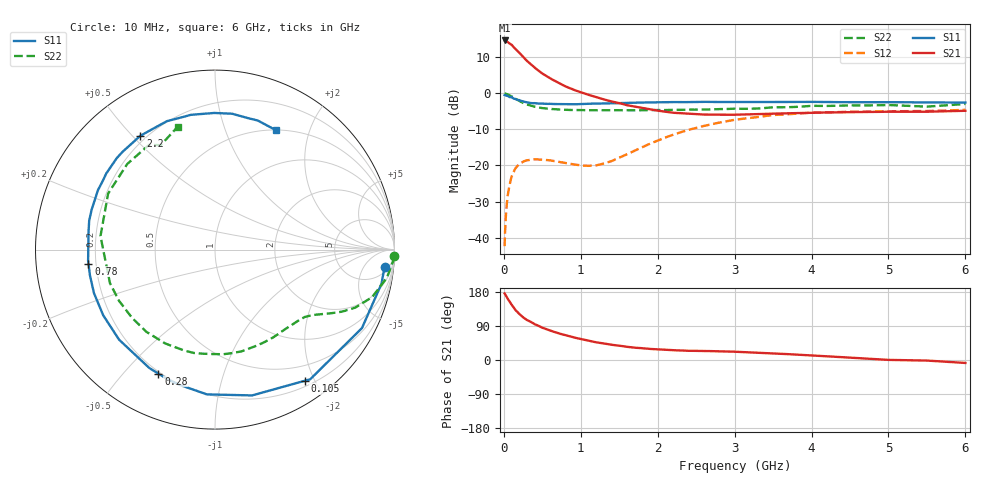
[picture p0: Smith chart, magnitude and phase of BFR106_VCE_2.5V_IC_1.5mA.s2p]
! Infineon Technologies  Discrete & RF Semiconductors
! BFR106
! VCE =  2.5 V,  IC =  1.5 mA
! Common Emitter S-Parameters:  Nov 2015
# GHz  S  MA  R  50
!  f  S11  S21  S12  S22
! GHz  MAG  ANG  MAG  ANG  MAG  ANG  MAG  ANG
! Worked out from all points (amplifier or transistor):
!   210 points, 10 MHz to 6 GHz, reference 50 ohm
!   highest |S21| = 14.7 dB at 10 MHz (marker M1)
!   |S21| within 3 dB of that: start of sweep to 181.1 MHz
!   unconditionally stable (mu >= 1): 804.8 MHz to 2.172 GHz; 2.659 GHz to end of sweep
!   at 185 MHz: K = 0.22, MSG = 15.8 dB, |S12| = -19.9 dB
!   at 1.52 GHz: K = 1.28, MAG = 4.3 dB, |S12| = -17.7 dB
!   at 6 GHz: K = 1.02, MAG = -1.0 dB, |S12| = -4.6 dB
!   S11 on the Smith chart (normalised r, x): 10 MHz: 8, -16; 105 MHz: 0.28, -1.86; 280 MHz: 0.19, -0.63; 780 MHz: 0.17, -0.05; 2.2 GHz: 0.18, +0.53; 6 GHz: 0.50, +1.51
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0.01  0.9498 -5.8  5.425 175.7  0.0076 87.5  0.9989 -2.1
0.02  0.9469 -11.6  5.385 172.7  0.0152 84.6  0.9937 -3.8
0.04  0.9258 -22.5  5.218 165.3  0.0304 75.8  0.9775 -7.4
0.05  0.9282 -28.1  5.169 161.4  0.0381 74.0  0.9709 -9.2
0.105  0.885 -55.7  4.672 144.8  0.0718 59.6  0.9075 -17.3
0.15  0.8384 -75.7  4.153 131.8  0.0913 49.1  0.8455 -22.5
0.2  0.8079 -93.2  3.675 121.7  0.105 41.6  0.788 -26.0
0.24  0.7788 -104.8  3.303 114.5  0.1115 36.1  0.7467 -28.2
0.28  0.7596 -114.5  2.979 108.5  0.116 32.2  0.7158 -29.9
0.3  0.7542 -119.1  2.827 105.6  0.118 30.5  0.7021 -30.7
0.4  0.7331 -136.8  2.274 94.5  0.122 24.1  0.654 -33.9
0.5  0.7224 -149.6  1.886 85.2  0.1207 20.4  0.6252 -36.9
0.6  0.7166 -160.2  1.62 77.6  0.1178 18.9  0.6096 -40.4
0.78  0.7093 -173.7  1.284 66.5  0.1093 20.2  0.5931 -47.3
1.02  0.7122 171.3  1.02 54.3  0.1 29.7  0.5861 -57.3
1.4  0.7314 153.2  0.772 40.2  0.115 54.7  0.5859 -75.3
2.02  0.7499 129.4  0.572 28.0  0.226 66.2  0.5873 -108.1
2.2  0.7584 123.3  0.539 25.9  0.267 64.5  0.5919 -117.9
3.1  0.7608 98.2  0.509 21.0  0.4429 44.0  0.6108 -167.3
4.1  0.7608 81.6  0.542 11.1  0.5428 21.1  0.67 149.0
5.1  0.7555 70.7  0.557 -0.1  0.5663 5.0  0.6826 121.2
6  0.7469 63.1  0.574 -7.8  0.5916 -5.5  0.7151 106.9
